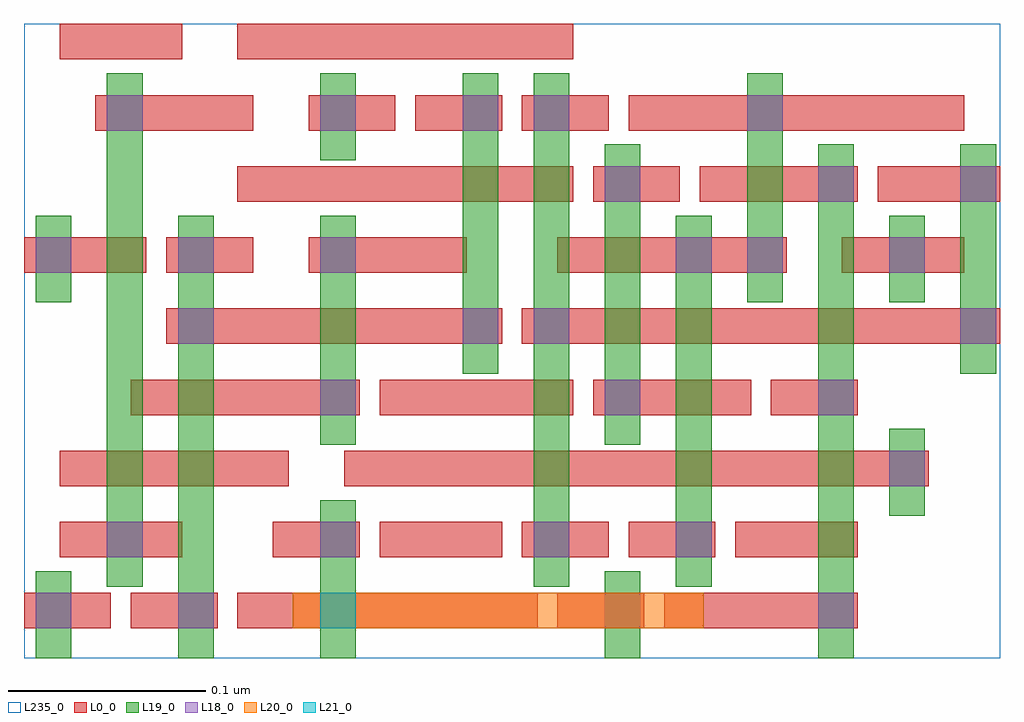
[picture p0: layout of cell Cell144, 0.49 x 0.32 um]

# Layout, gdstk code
import gdstk
lib = gdstk.Library(unit=1e-6, precision=2.5e-10)
def R(c, l, rs):  # rectangles x0, y0, x1, y1
    for r in rs: c.add(gdstk.rectangle(r[:2], r[2:], *l))
def A(c, l, x, y, w, h, nx, ny, dx, dy):  # array of equal rectangles
    R(c, l, [(x+i*dx, y+j*dy, x+i*dx+w, y+j*dy+h) for i in range(nx) for j in range(ny)])
L0_0 = (0, 0)
L18_0 = (18, 0)
L19_0 = (19, 0)
L20_0 = (20, 0)
L21_0 = (21, 0)
L235_0 = (235, 0)

cell144 = lib.new_cell('Cell144')
A(cell144, L0_0, 0.148, 0.251, 0.044, 0.018, 3, 1, 0.054, 0)
R(cell144, L0_0, [(0.004,-0.001,0.048,0.017), (0.058,-0.001,0.102,0.017), (0.112,-0.001,0.264,0.017), (0.274,-0.001,0.318,0.017), (0.328,-0.001,0.426,0.017), (0.022,0.035,0.084,0.053), (0.13,0.035,0.174,0.053), (0.184,0.035,0.246,0.053), (0.256,0.035,0.3,0.053), (0.31,0.035,0.354,0.053), (0.364,0.035,0.426,0.053), (0.022,0.071,0.138,0.089), (0.166,0.071,0.462,0.089), (0.058,0.107,0.174,0.125), (0.184,0.107,0.282,0.125), (0.292,0.107,0.372,0.125), (0.382,0.107,0.426,0.125), (0.076,0.143,0.246,0.161), (0.256,0.143,0.498,0.161), (0.004,0.179,0.066,0.197), (0.076,0.179,0.12,0.197), (0.148,0.179,0.228,0.197), (0.274,0.179,0.39,0.197), (0.418,0.179,0.48,0.197), (0.112,0.215,0.282,0.233), (0.292,0.215,0.336,0.233), (0.346,0.215,0.426,0.233), (0.436,0.215,0.498,0.233), (0.04,0.251,0.12,0.269), (0.31,0.251,0.48,0.269), (0.022,0.287,0.084,0.305), (0.112,0.287,0.282,0.305)])
A(cell144, L18_0, 0.298, -0.001, 0.018, 0.018, 1, 3, 0, 0.108)
A(cell144, L18_0, 0.406, -0.001, 0.018, 0.018, 1, 3, 0, 0.108)
A(cell144, L18_0, 0.046, 0.035, 0.018, 0.018, 3, 1, 0.108, 0)
A(cell144, L18_0, 0.01, 0.179, 0.018, 0.018, 3, 1, 0.072, 0)
R(cell144, L18_0, [(0.01,-0.001,0.028,0.017), (0.082,-0.001,0.1,0.017), (0.334,0.035,0.352,0.053), (0.442,0.071,0.46,0.089), (0.154,0.107,0.172,0.125), (0.082,0.143,0.1,0.161), (0.226,0.143,0.244,0.161), (0.262,0.143,0.28,0.161), (0.478,0.143,0.496,0.161), (0.334,0.179,0.352,0.197), (0.37,0.179,0.388,0.197), (0.442,0.179,0.46,0.197), (0.478,0.215,0.496,0.233), (0.046,0.251,0.064,0.269), (0.154,0.251,0.172,0.269), (0.226,0.251,0.244,0.269), (0.262,0.251,0.28,0.269), (0.37,0.251,0.388,0.269)])
R(cell144, L19_0, [(0.01,-0.016,0.028,0.028), (0.082,-0.016,0.1,0.208), (0.154,-0.016,0.172,0.064), (0.298,-0.016,0.316,0.028), (0.406,-0.016,0.424,0.244), (0.046,0.02,0.064,0.28), (0.262,0.02,0.28,0.28), (0.334,0.02,0.352,0.208), (0.442,0.056,0.46,0.1), (0.154,0.092,0.172,0.208), (0.298,0.092,0.316,0.244), (0.226,0.128,0.244,0.28), (0.478,0.128,0.496,0.244), (0.01,0.164,0.028,0.208), (0.37,0.164,0.388,0.28), (0.442,0.164,0.46,0.208), (0.154,0.236,0.172,0.28)])
R(cell144, L20_0, [(0.14,-0.001,0.348,0.017)])
R(cell144, L21_0, [(0.154,-0.001,0.172,0.017)])
R(cell144, L235_0, [(0.004,-0.016,0.498,0.305)])

lib.write_gds('Cell144.gds')
